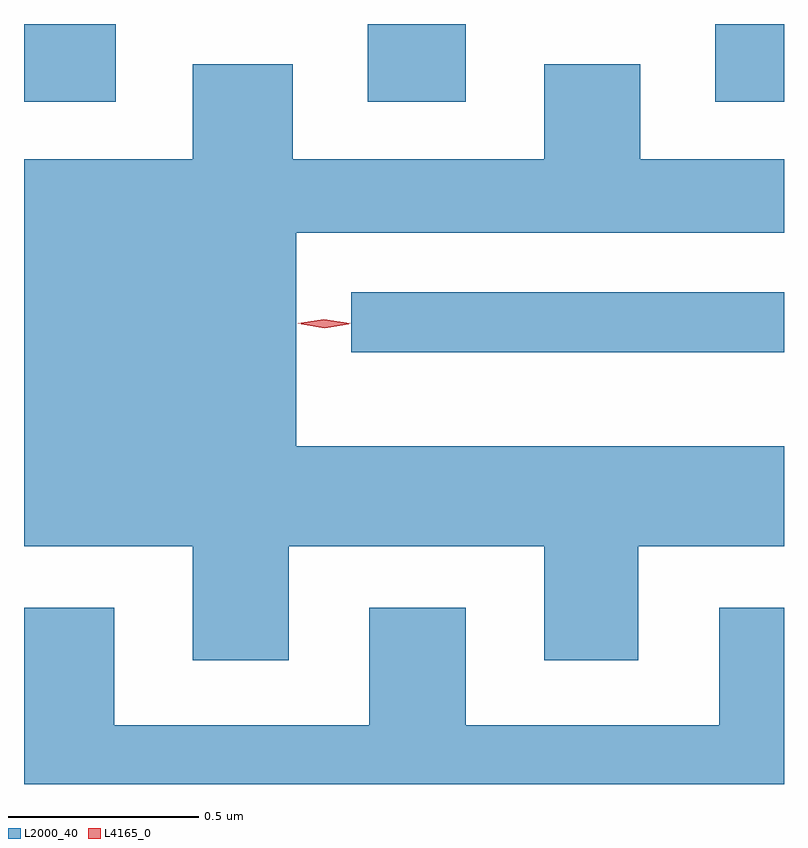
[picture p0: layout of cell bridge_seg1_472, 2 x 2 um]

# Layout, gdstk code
import gdstk
lib = gdstk.Library(unit=1e-6, precision=1e-09)
def R(c, l, rs):  # rectangles x0, y0, x1, y1
    for r in rs: c.add(gdstk.rectangle(r[:2], r[2:], *l))
def P(c, l, *ps):  # polygons
    for p in ps: c.add(gdstk.Polygon(p, *l))
L2000_40 = (2000, 40)
L4165_0 = (4165, 0)

bridge_seg1_472 = lib.new_cell('bridge_seg1_472')
R(bridge_seg1_472, L2000_40, [(344.543,849.766,345.682,849.924), (343.682,850.426,343.924,850.63), (344.586,850.426,344.844,850.63), (345.501,850.426,345.682,850.63)])
P(bridge_seg1_472, L2000_40, [(344.379,849.256),(345.051,849.256),(345.051,848.956),(345.299,848.956),(345.299,849.256),(345.682,849.256),(345.682,849.519),(344.399,849.519),(344.399,850.081),(345.682,850.081),(345.682,850.274),(345.304,850.274),(345.304,850.524),(345.051,850.524),(345.051,850.274),(344.389,850.274),(344.389,850.524),(344.126,850.524),(344.126,850.274),(343.682,850.274),(343.682,849.256),(344.126,849.256),(344.126,848.956),(344.379,848.956)],
  [(345.682,849.094),(345.511,849.094),(345.511,848.784),(344.844,848.784),(344.844,849.094),(344.591,849.094),(344.591,848.784),(343.919,848.784),(343.919,849.094),(343.682,849.094),(343.682,848.63),(345.682,848.63)])
P(bridge_seg1_472, L4165_0, [(344.474,849.83),(344.412,849.84),(344.412,849.84),(344.412,849.84),(344.474,849.85),(344.536,849.841),(344.537,849.84),(344.536,849.84)],
  [(344.471,849.833),(344.403,849.842),(344.402,849.843),(344.403,849.843),(344.471,849.853),(344.54,849.843),(344.54,849.843),(344.54,849.842)])

lib.write_gds('bridge_seg1_472.gds')
